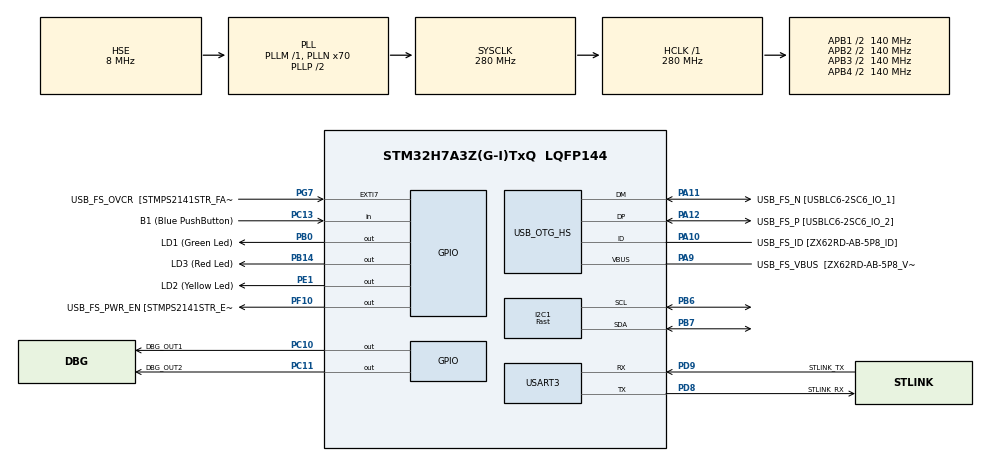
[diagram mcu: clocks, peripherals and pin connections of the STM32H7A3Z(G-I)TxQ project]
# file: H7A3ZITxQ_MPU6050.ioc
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I2C1.I2C_Speed_Mode=I2C_Fast
I2C1.Timing=0x00D04BFF
Mcu.Family=STM32H7
Mcu.Name=STM32H7A3Z(G-I)TxQ
Mcu.Package=LQFP144
NVIC.PriorityGroup=NVIC_PRIORITYGROUP_4
NVIC.USART3_IRQn=true\:0\:0\:false\:false\:true\:true\:true
PA10.GPIO_Label=USB_FS_ID [ZX62RD-AB-5P8_ID]
PA10.Mode=OTG/Dual-Role-Device-FS
PA10.Signal=USB_OTG_HS_ID
PA11.GPIO_Label=USB_FS_N [USBLC6-2SC6_IO_1]
PA11.Mode=OTG/Dual-Role-Device-FS
PA11.Signal=USB_OTG_HS_DM
PA12.GPIO_Label=USB_FS_P [USBLC6-2SC6_IO_2]
PA12.Mode=OTG/Dual-Role-Device-FS
PA12.Signal=USB_OTG_HS_DP
PA13.Mode=Trace_Asynchronous_SW
PA13.Signal=DEBUG_JTMS-SWDIO
PA14.Mode=Trace_Asynchronous_SW
PA14.Signal=DEBUG_JTCK-SWCLK
PA9.GPIO_Label=USB_FS_VBUS  [ZX62RD-AB-5P8_VBUS]
PA9.Mode=Activate_VBUS_FS
PA9.Signal=USB_OTG_HS_VBUS
PB0.GPIO_Label=LD1 (Green Led)
PB0.Signal=GPIO_Output
PB14.GPIO_Label=LD3 (Red Led)
PB14.Signal=GPIO_Output
PB3.Mode=Trace_Asynchronous_SW
PB3.Signal=DEBUG_JTDO-SWO
PB6.Mode=I2C
PB6.Signal=I2C1_SCL
PB7.Mode=I2C
PB7.Signal=I2C1_SDA
PC10.GPIO_Label=DBG_OUT1
PC10.Signal=GPIO_Output
PC11.GPIO_Label=DBG_OUT2
PC11.Signal=GPIO_Output
PC13.GPIO_Label=B1 (Blue PushButton)
PC13.Signal=GPIO_Input
PC14-OSC32_IN.GPIO_Label=OSC32_IN
PC14-OSC32_IN.Mode=LSE-External-Oscillator
PC14-OSC32_IN.Signal=RCC_OSC32_IN
PC15-OSC32_OUT.GPIO_Label=OSC32_OUT
PC15-OSC32_OUT.Mode=LSE-External-Oscillator
PC15-OSC32_OUT.Signal=RCC_OSC32_OUT
PD8.GPIO_Label=STLINK_RX
PD8.Mode=Asynchronous
PD8.Signal=USART3_TX
PD9.GPIO_Label=STLINK_TX
PD9.Mode=Asynchronous
PD9.Signal=USART3_RX
PE1.GPIO_Label=LD2 (Yellow Led)
PE1.Signal=GPIO_Output
PF10.GPIO_Label=USB_FS_PWR_EN [STMPS2141STR_EN]
PF10.Signal=GPIO_Output
PG7.GPIO_Label=USB_FS_OVCR  [STMPS2141STR_FAULT]
PG7.Signal=GPXTI7
PH0-OSC_IN.GPIO_Label=PH0-MCU
PH0-OSC_IN.Mode=HSE-External-Clock-Source
PH0-OSC_IN.Signal=RCC_OSC_IN
PH1-OSC_OUT.GPIO_Label=PH1-MCU
PH1-OSC_OUT.Signal=RCC_OSC_OUT
ProjectManager.HeapSize=0x200
ProjectManager.StackSize=0x400
ProjectManager.TargetToolchain=STM32CubeIDE
RCC.ADCFreq_Value=16125000
RCC.APB1Freq_Value=140000000
RCC.APB2Freq_Value=140000000
RCC.APB3Freq_Value=140000000
RCC.APB4Freq_Value=140000000
RCC.CDPPRE=RCC_APB3_DIV2
RCC.CDPPRE1=RCC_APB1_DIV2
RCC.CDPPRE2=RCC_APB2_DIV2
RCC.CortexFreq_Value=280000000
RCC.DIVM1=1
RCC.DIVM3=1
RCC.DIVN1=70
RCC.DIVN3=24
RCC.DIVQ1=4
RCC.HCLKFreq_Value=280000000
RCC.HSE_VALUE=8000000
RCC.PLL2FRACN=0
RCC.PLLFRACN=0
RCC.PLLSourceVirtual=RCC_PLLSOURCE_HSE
RCC.PWR_Regulator_Voltage_Scale=PWR_REGULATOR_VOLTAGE_SCALE0
RCC.SRDPPRE=RCC_APB4_DIV2
RCC.SYSCLKFreq_VALUE=280000000
RCC.SYSCLKSource=RCC_SYSCLKSOURCE_PLLCLK
RCC.SupplySource=PWR_DIRECT_SMPS_SUPPLY
RCC.USBCLockSelection=RCC_USBCLKSOURCE_HSI48
RCC.USBFreq_Value=48000000
USART3.VirtualMode-Asynchronous=VM_ASYNC
board=NUCLEO-H7A3ZI-Q

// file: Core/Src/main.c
/* USER CODE BEGIN Header */
/**
  ******************************************************************************
  * @file           : main.c
  * @brief          : Main program body
  ******************************************************************************
  * @attention
  *
  * <h2><center>&copy; Copyright (c) 2021 STMicroelectronics.
  * All rights reserved.</center></h2>
  *
  * This software component is licensed by ST under BSD 3-Clause license,
  * the "License"; You may not use this file except in compliance with the
  * License. You may obtain a copy of the License at:
  *                        opensource.org/licenses/BSD-3-Clause
  *
  ******************************************************************************
  */
/* USER CODE END Header */
#include "main.h"
#include "i2c.h"
#include "usart.h"
#include "usb_otg.h"
#include "gpio.h"

/* USER CODE BEGIN Includes */
#include <string.h>
#include "fw_app.h"
/* USER CODE END Includes */

/* USER CODE BEGIN PV */
static int                _i, _temp; //, _len;
static uint8_t            _ch;
static fl_status_t        _ret;
/* USER CODE END PV */

void SystemClock_Config(void);
/* USER CODE BEGIN PFP */
static void bin_message_processing(void);
/* USER CODE END PFP */

int main(void)
{
  /* USER CODE BEGIN 1 */
  fw_app_init();
  /* USER CODE END 1 */

  /* MCU Configuration--------------------------------------------------------*/

  /* Reset of all peripherals, Initializes the Flash interface and the Systick. */
  HAL_Init();

  /* Configure the system clock */
  SystemClock_Config();

  /* Initialize all configured peripherals */
  MX_GPIO_Init();
  MX_I2C1_Init();
  MX_USART3_UART_Init();
  MX_USB_OTG_HS_USB_Init();
  /* USER CODE BEGIN 2 */

  HAL_Delay(100);
  fw_app_hw_init();
  /* USER CODE END 2 */

  /* Infinite loop */
  /* USER CODE BEGIN WHILE */
  while (1)
  {
    bin_message_processing();

    if (g_app.start_accelgyro == FL_MSG_ACCELGYRO_START)
    {
      HAL_GPIO_WritePin(LD3_GPIO_Port, LD3_Pin, GPIO_PIN_SET);

      if (g_app.mpu6050.ready == FL_TRUE)
      {
        if (g_app.read_mpu6050 == FL_TRUE)
        {
          HAL_GPIO_WritePin(DBG_OUT1_GPIO_Port, DBG_OUT1_Pin, GPIO_PIN_SET);

          fl_mpu6050_read_data(&g_app.mpu6050, FL_MPU6050_I2C_ADDR);

          fl_bin_msg_full_t* _msg_full = (fl_bin_msg_full_t*)g_app.proto_mgr.out_buf;

          _msg_full->header.device_id = 1;
          _msg_full->header.message_id = FL_MSG_ID_ACCELGYRO_EVENT;
          _msg_full->header.flag1.sequence_num = g_app.seq_num++;
          _msg_full->header.flag1.return_expected = FL_FALSE;

          fl_accel_gyro_data_event_t* ag_data = (fl_accel_gyro_data_event_t*)&_msg_full->payload;
          ag_data->id = 1;
          ag_data->sample_count = 1;
          memcpy(ag_data->data, &g_app.mpu6050.raw_data, sizeof(fl_mpu6050_raw_data_t));

          g_app.proto_mgr.out_length = fl_bin_msg_build_event(g_app.proto_mgr.out_buf, sizeof(g_app.proto_mgr.out_buf));
          if (g_app.proto_mgr.out_length > 0)
          {
            HAL_UART_Transmit(g_app.proto_mgr.uart_handle, g_app.proto_mgr.out_buf, g_app.proto_mgr.out_length, FW_APP_PROTO_TX_TIMEOUT);
          }
          g_app.proto_mgr.out_length = 0;

          if (g_app.seq_num > FL_BIN_MSG_MAX_SEQUENCE)
          {
            g_app.seq_num = FL_BIN_MSG_MIN_SEQUENCE;
          }

          HAL_GPIO_WritePin(DBG_OUT1_GPIO_Port, DBG_OUT1_Pin, GPIO_PIN_RESET);
          g_app.read_mpu6050 = FL_FALSE;

  //        printf("%d,%d,%d,%d,%d,%d\r\n",
  //                    g_app.mpu6050.raw_data.ax, g_app.mpu6050.raw_data.ay, g_app.mpu6050.raw_data.az,
  //                    g_app.mpu6050.raw_data.gx, g_app.mpu6050.raw_data.gy, g_app.mpu6050.raw_data.gz);
  //        printf("%.2f,%.2f,%.2f,%.2f,%.2f,%.2f\r\n",
  //            g_app.mpu6050.data.ax, g_app.mpu6050.data.ay, g_app.mpu6050.data.az,
  //            g_app.mpu6050.data.gx, g_app.mpu6050.data.gy, g_app.mpu6050.data.gz);
        }
      }
      else
      {
        fl_mpu6050_hw_init(&g_app.mpu6050);
      }
      //g_app.start_accelgyro = FL_MSG_ACCELGYRO_STOP;
      //HAL_Delay(2);
    }
    else
    {
      HAL_GPIO_WritePin(LD3_GPIO_Port, LD3_Pin, GPIO_PIN_RESET);
    }

    /* USER CODE END WHILE */

  }
}

void SystemClock_Config(void)
{
  RCC_OscInitTypeDef RCC_OscInitStruct = {0};
  RCC_ClkInitTypeDef RCC_ClkInitStruct = {0};

  /** Supply configuration update enable
  */
  HAL_PWREx_ConfigSupply(PWR_DIRECT_SMPS_SUPPLY);
  /** Configure the main internal regulator output voltage
  */
  __HAL_PWR_VOLTAGESCALING_CONFIG(PWR_REGULATOR_VOLTAGE_SCALE0);

  while(!__HAL_PWR_GET_FLAG(PWR_FLAG_VOSRDY)) {}
  /** Initializes the RCC Oscillators according to the specified parameters
  * in the RCC_OscInitTypeDef structure.
  */
  RCC_OscInitStruct.OscillatorType = RCC_OSCILLATORTYPE_HSI48|RCC_OSCILLATORTYPE_HSE;
  RCC_OscInitStruct.HSEState = RCC_HSE_BYPASS;
  RCC_OscInitStruct.HSI48State = RCC_HSI48_ON;
  RCC_OscInitStruct.PLL.PLLState = RCC_PLL_ON;
  RCC_OscInitStruct.PLL.PLLSource = RCC_PLLSOURCE_HSE;
  RCC_OscInitStruct.PLL.PLLM = 1;
  RCC_OscInitStruct.PLL.PLLN = 70;
  RCC_OscInitStruct.PLL.PLLP = 2;
  RCC_OscInitStruct.PLL.PLLQ = 4;
  RCC_OscInitStruct.PLL.PLLR = 2;
  RCC_OscInitStruct.PLL.PLLRGE = RCC_PLL1VCIRANGE_3;
  RCC_OscInitStruct.PLL.PLLVCOSEL = RCC_PLL1VCOWIDE;
  RCC_OscInitStruct.PLL.PLLFRACN = 0;
  if (HAL_RCC_OscConfig(&RCC_OscInitStruct) != HAL_OK)
  {
    Error_Handler();
  }
  /** Initializes the CPU, AHB and APB buses clocks
  */
  RCC_ClkInitStruct.ClockType = RCC_CLOCKTYPE_HCLK|RCC_CLOCKTYPE_SYSCLK
                              |RCC_CLOCKTYPE_PCLK1|RCC_CLOCKTYPE_PCLK2
                              |RCC_CLOCKTYPE_D3PCLK1|RCC_CLOCKTYPE_D1PCLK1;
  RCC_ClkInitStruct.SYSCLKSource = RCC_SYSCLKSOURCE_PLLCLK;
  RCC_ClkInitStruct.SYSCLKDivider = RCC_SYSCLK_DIV1;
  RCC_ClkInitStruct.AHBCLKDivider = RCC_HCLK_DIV1;
  RCC_ClkInitStruct.APB3CLKDivider = RCC_APB3_DIV2;
  RCC_ClkInitStruct.APB1CLKDivider = RCC_APB1_DIV2;
  RCC_ClkInitStruct.APB2CLKDivider = RCC_APB2_DIV2;
  RCC_ClkInitStruct.APB4CLKDivider = RCC_APB4_DIV2;

  if (HAL_RCC_ClockConfig(&RCC_ClkInitStruct, FLASH_LATENCY_7) != HAL_OK)
  {
    Error_Handler();
  }
}

/* USER CODE BEGIN 4 */
static void bin_message_processing(void)
{
  _temp = fl_q_count(&g_app.proto_mgr.q);

  if (_temp > 0)
  {
    //printf("Q count : %d\r\n", _temp);
    for (_i = 0; _i < _temp; _i++)
    {
      HAL_NVIC_DisableIRQ(USART3_IRQn);
      fl_q_pop(&g_app.proto_mgr.q, &_ch);
      HAL_NVIC_EnableIRQ(USART3_IRQn);
      _ret = fl_bin_msg_parser_parse(&g_app.proto_mgr.parser_handle, _ch, NULL);
      if (_ret != FL_BIN_MSG_PARSER_PARSING)
      {
        fl_bin_msg_parser_clear(&g_app.proto_mgr.parser_handle);
      }
    }
  }
}

void HAL_UART_RxCpltCallback(UART_HandleTypeDef *huart)
{
  if (huart == g_app.proto_mgr.uart_handle)
  {
    fl_q_push(&g_app.proto_mgr.q, g_app.proto_mgr.rx_buf[0]);
    FW_APP_UART_RCV_IT(g_app.proto_mgr.uart_handle, g_app.proto_mgr.rx_buf, 1);
  }
}

int _write(int file, char *ptr, int len)
{
 int DataIdx;

  for(DataIdx=0; DataIdx<len; DataIdx++)
  {
    ITM_SendChar(*ptr++);
  }
  return len;
}
/* USER CODE END 4 */

void Error_Handler(void)
{
  __disable_irq();
  while (1)
  {
  }
}

/************************ (C) COPYRIGHT STMicroelectronics *****END OF FILE****/
